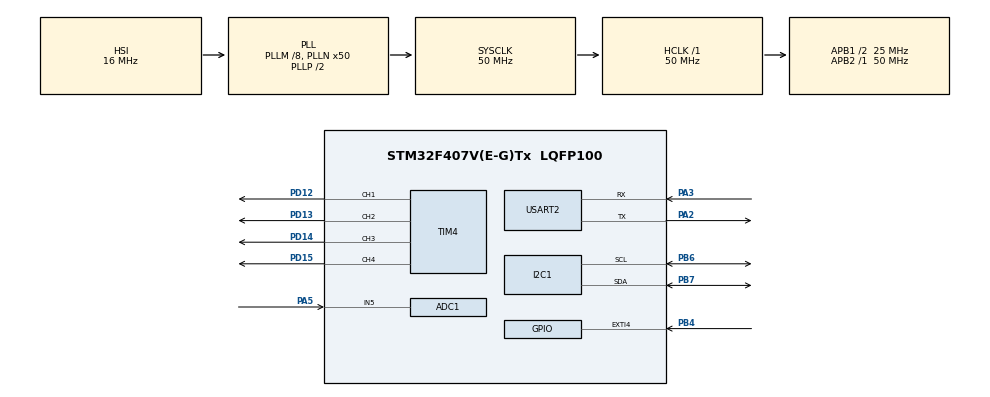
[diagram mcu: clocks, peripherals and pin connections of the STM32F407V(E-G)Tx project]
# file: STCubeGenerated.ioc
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ADC1.Channel-0\#ChannelRegularConversion=ADC_CHANNEL_5
ADC1.ClockPrescaler=ADC_CLOCK_SYNC_PCLK_DIV2
ADC1.ContinuousConvMode=DISABLE
ADC1.DMAContinuousRequests=DISABLE
ADC1.DataAlign=ADC_DATAALIGN_RIGHT
ADC1.DiscontinuousConvMode=DISABLE
ADC1.EOCSelection=ADC_EOC_SINGLE_CONV
ADC1.EnableAnalogWatchDog=false
ADC1.ExternalTrigConvEdge=ADC_EXTERNALTRIGCONVEDGE_NONE
ADC1.InjNumberOfConversion=0
ADC1.NbrOfConversion=1
ADC1.NbrOfConversionFlag=1
ADC1.Rank-0\#ChannelRegularConversion=1
ADC1.Resolution=ADC_RESOLUTION_12B
ADC1.SamplingTime-0\#ChannelRegularConversion=ADC_SAMPLETIME_3CYCLES
ADC1.ScanConvMode=DISABLE
ADC1.master=1
Dma.ADC1.2.Direction=DMA_PERIPH_TO_MEMORY
Dma.ADC1.2.FIFOMode=DMA_FIFOMODE_DISABLE
Dma.ADC1.2.Instance=DMA2_Stream0
Dma.ADC1.2.MemDataAlignment=DMA_MDATAALIGN_HALFWORD
Dma.ADC1.2.MemInc=DMA_MINC_ENABLE
Dma.ADC1.2.Mode=DMA_NORMAL
Dma.ADC1.2.PeriphDataAlignment=DMA_PDATAALIGN_HALFWORD
Dma.ADC1.2.PeriphInc=DMA_PINC_DISABLE
Dma.ADC1.2.Priority=DMA_PRIORITY_LOW
Dma.Request0=USART2_RX
Dma.Request1=USART2_TX
Dma.Request2=ADC1
Dma.USART2_RX.0.Direction=DMA_PERIPH_TO_MEMORY
Dma.USART2_RX.0.FIFOMode=DMA_FIFOMODE_DISABLE
Dma.USART2_RX.0.Instance=DMA1_Stream5
Dma.USART2_RX.0.MemDataAlignment=DMA_MDATAALIGN_BYTE
Dma.USART2_RX.0.MemInc=DMA_MINC_ENABLE
Dma.USART2_RX.0.Mode=DMA_NORMAL
Dma.USART2_RX.0.PeriphDataAlignment=DMA_PDATAALIGN_BYTE
Dma.USART2_RX.0.PeriphInc=DMA_PINC_DISABLE
Dma.USART2_RX.0.Priority=DMA_PRIORITY_LOW
Dma.USART2_TX.1.Direction=DMA_MEMORY_TO_PERIPH
Dma.USART2_TX.1.FIFOMode=DMA_FIFOMODE_DISABLE
Dma.USART2_TX.1.Instance=DMA1_Stream6
Dma.USART2_TX.1.MemDataAlignment=DMA_MDATAALIGN_BYTE
Dma.USART2_TX.1.MemInc=DMA_MINC_ENABLE
Dma.USART2_TX.1.Mode=DMA_NORMAL
Dma.USART2_TX.1.PeriphDataAlignment=DMA_PDATAALIGN_BYTE
Dma.USART2_TX.1.PeriphInc=DMA_PINC_DISABLE
Dma.USART2_TX.1.Priority=DMA_PRIORITY_LOW
I2C1.DutyCycle=I2C_DUTYCYCLE_16_9
I2C1.I2C_Mode=I2C_Fast
Mcu.Family=STM32F4
Mcu.Name=STM32F407V(E-G)Tx
Mcu.Package=LQFP100
NVIC.DMA1_Stream5_IRQn=true\:0\:0\:false\:false\:true
NVIC.DMA1_Stream6_IRQn=true\:0\:0\:false\:false\:true
NVIC.DMA2_Stream0_IRQn=true\:0\:0\:false\:false\:true
NVIC.EXTI4_IRQn=true\:0\:0\:false\:false\:true
NVIC.PriorityGroup=NVIC_PRIORITYGROUP_4
NVIC.USART2_IRQn=true\:0\:0\:false\:false\:true
PA2.GPIO_Speed=GPIO_SPEED_FREQ_HIGH
PA2.Mode=Asynchronous
PA2.Signal=USART2_TX
PA3.GPIO_Speed=GPIO_SPEED_FREQ_HIGH
PA3.Mode=Asynchronous
PA3.Signal=USART2_RX
PA5.Signal=ADCx_IN5
PB4.Signal=GPXTI4
PB6.Mode=I2C
PB6.Signal=I2C1_SCL
PB7.Mode=I2C
PB7.Signal=I2C1_SDA
PD12.Signal=S_TIM4_CH1
PD13.Signal=S_TIM4_CH2
PD14.Signal=S_TIM4_CH3
PD15.Signal=S_TIM4_CH4
ProjectManager.HeapSize=0x200
ProjectManager.StackSize=0x400
ProjectManager.TargetToolchain=MDK-ARM V5
RCC.48MHZClocksFreq_Value=25000000
RCC.AHBFreq_Value=50000000
RCC.APB1CLKDivider=RCC_HCLK_DIV2
RCC.APB1Freq_Value=25000000
RCC.APB1TimFreq_Value=50000000
RCC.APB2Freq_Value=50000000
RCC.APB2TimFreq_Value=50000000
RCC.CortexFreq_Value=50000000
RCC.HCLKFreq_Value=50000000
RCC.HSE_VALUE=8000000
RCC.HSI_VALUE=16000000
RCC.LSE_VALUE=32768
RCC.PLLM=8
RCC.PLLN=50
RCC.SYSCLKFreq_VALUE=50000000
RCC.SYSCLKSource=RCC_SYSCLKSOURCE_PLLCLK
RCC.VCOOutputFreq_Value=100000000
SH.ADCx_IN5.0=ADC1_IN5,IN5
SH.S_TIM4_CH1.0=TIM4_CH1,PWM Generation1 CH1
SH.S_TIM4_CH2.0=TIM4_CH2,PWM Generation2 CH2
SH.S_TIM4_CH3.0=TIM4_CH3,PWM Generation3 CH3
SH.S_TIM4_CH4.0=TIM4_CH4,PWM Generation4 CH4
TIM4.Channel-PWM\ Generation2\ CH2=TIM_CHANNEL_2
TIM4.Channel-PWM\ Generation3\ CH3=TIM_CHANNEL_3
TIM4.Channel-PWM\ Generation4\ CH4=TIM_CHANNEL_4
board=STCubeGenerated

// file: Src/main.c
/**
  ******************************************************************************
  * File Name          : main.c
  * Description        : Main program body
  ******************************************************************************
  *
  * COPYRIGHT(c) 2016 STMicroelectronics
  *
  * Redistribution and use in source and binary forms, with or without modification,
  * are permitted provided that the following conditions are met:
  *   1. Redistributions of source code must retain the above copyright notice,
  *      this list of conditions and the following disclaimer.
  *   2. Redistributions in binary form must reproduce the above copyright notice,
  *      this list of conditions and the following disclaimer in the documentation
  *      and/or other materials provided with the distribution.
  *   3. Neither the name of STMicroelectronics nor the names of its contributors
  *      may be used to endorse or promote products derived from this software
  *      without specific prior written permission.
  *
  * THIS SOFTWARE IS PROVIDED BY THE COPYRIGHT HOLDERS AND CONTRIBUTORS "AS IS"
  * AND ANY EXPRESS OR IMPLIED WARRANTIES, INCLUDING, BUT NOT LIMITED TO, THE
  * IMPLIED WARRANTIES OF MERCHANTABILITY AND FITNESS FOR A PARTICULAR PURPOSE ARE
  * DISCLAIMED. IN NO EVENT SHALL THE COPYRIGHT HOLDER OR CONTRIBUTORS BE LIABLE
  * FOR ANY DIRECT, INDIRECT, INCIDENTAL, SPECIAL, EXEMPLARY, OR CONSEQUENTIAL
  * DAMAGES (INCLUDING, BUT NOT LIMITED TO, PROCUREMENT OF SUBSTITUTE GOODS OR
  * SERVICES; LOSS OF USE, DATA, OR PROFITS; OR BUSINESS INTERRUPTION) HOWEVER
  * CAUSED AND ON ANY THEORY OF LIABILITY, WHETHER IN CONTRACT, STRICT LIABILITY,
  * OR TORT (INCLUDING NEGLIGENCE OR OTHERWISE) ARISING IN ANY WAY OUT OF THE USE
  * OF THIS SOFTWARE, EVEN IF ADVISED OF THE POSSIBILITY OF SUCH DAMAGE.
  *
  ******************************************************************************
  */
#include "stm32f4xx_hal.h"

/* USER CODE BEGIN Includes */
#include "main.h"
/* USER CODE END Includes */

ADC_HandleTypeDef hadc1;
DMA_HandleTypeDef hdma_adc1;

I2C_HandleTypeDef hi2c1;

TIM_HandleTypeDef htim4;

UART_HandleTypeDef huart2;
DMA_HandleTypeDef hdma_usart2_rx;
DMA_HandleTypeDef hdma_usart2_tx;

/* USER CODE BEGIN PV */
/* Private variables ---------------------------------------------------------*/
uint8_t TxBuffer[32];
uint8_t RxBuffer[32];
uint8_t Tx_Rx_Mode_Flag;

/* USER CODE END PV */

void SystemClock_Config(void);
void Error_Handler(void);
static void MX_GPIO_Init(void);
static void MX_DMA_Init(void);
static void MX_I2C1_Init(void);
static void MX_USART2_UART_Init(void);
static void MX_ADC1_Init(void);
static void MX_TIM4_Init(void);

void HAL_TIM_MspPostInit(TIM_HandleTypeDef *htim);

/* USER CODE BEGIN PFP */
/* Private function prototypes -----------------------------------------------*/

/* USER CODE END PFP */

int main(void)
{

  /* MCU Configuration----------------------------------------------------------*/

  /* Reset of all peripherals, Initializes the Flash interface and the Systick. */
  HAL_Init();

  /* Configure the system clock */
  SystemClock_Config();

  /* Initialize all configured peripherals */
  MX_GPIO_Init();
  MX_DMA_Init();
  MX_I2C1_Init();
  MX_USART2_UART_Init();
  MX_ADC1_Init();
  MX_TIM4_Init();

  /* USER CODE BEGIN 2 */

    mpu_init_all();

    dmp_set_fifo_rate(200);
    inv_set_quat_sample_rate(5000L);

    //dmp_set_fifo_rate(10);
    //inv_set_quat_sample_rate(100000L);
  /* USER CODE END 2 */

  /* Infinite loop */
  /* USER CODE BEGIN WHILE */
    while (1)
    {
        //HAL_UART_Receive_DMA(&huart2, RxBuffer, 2);
        Mpu_data_refresh();

        //时基?500ms的程?
        if ( (Timebase_500ms_even_flag & 0x01) == 0 )
        {

          Voltage();
          //Mpu_data_refresh();
          //LED_SetOut(LED_Count++);
          //inv_set_compass_bias_found(1);
          //inv_set_compass_state(1);
            Timebase_500ms_even_flag |= 0x01;
        }

        //时基?300ms的程?
        if ( (Timebase_300ms_even_flag & 0x01) == 0 )
        {
            Timebase_300ms_even_flag |= 0x01;
            //LED_SetOut(LED_Count++);
            //  Mpu_data_refresh();
            /*if(Tx_Rx_Mode_Flag == 0)
            {
             //串口数据
             //0?
             //1~16：log_stm32.c -> L119 -> quat
              HAL_UART_Transmit_DMA(&huart2, TxBuffer, 32);
              Tx_Rx_Mode_Flag = 1;
            }
            else
            {
              HAL_UART_Receive_DMA(&huart2, RxBuffer, 32);
              Tx_Rx_Mode_Flag = 0;
            }

            */
        }

        if ( (Timebase_50ms_even_flag & 0x01) == 0 )
        {
            Timebase_50ms_even_flag |= 0x01;

            //Mpu_data_refresh();
        }

        if ( (Timebase_2000ms_even_flag & 0x01) == 0 )
        {

            Timebase_2000ms_even_flag |= 0x01;
            //Mpu_data_refresh();
        }
  /* USER CODE END WHILE */

    }

}

/** System Clock Configuration
*/
void SystemClock_Config(void)
{

  RCC_OscInitTypeDef RCC_OscInitStruct;
  RCC_ClkInitTypeDef RCC_ClkInitStruct;

  __HAL_RCC_PWR_CLK_ENABLE();

  __HAL_PWR_VOLTAGESCALING_CONFIG(PWR_REGULATOR_VOLTAGE_SCALE1);

  RCC_OscInitStruct.OscillatorType = RCC_OSCILLATORTYPE_HSI;
  RCC_OscInitStruct.HSIState = RCC_HSI_ON;
  RCC_OscInitStruct.HSICalibrationValue = 16;
  RCC_OscInitStruct.PLL.PLLState = RCC_PLL_ON;
  RCC_OscInitStruct.PLL.PLLSource = RCC_PLLSOURCE_HSI;
  RCC_OscInitStruct.PLL.PLLM = 8;
  RCC_OscInitStruct.PLL.PLLN = 50;
  RCC_OscInitStruct.PLL.PLLP = RCC_PLLP_DIV2;
  RCC_OscInitStruct.PLL.PLLQ = 4;
  if (HAL_RCC_OscConfig(&RCC_OscInitStruct) != HAL_OK)
  {
    Error_Handler();
  }

  RCC_ClkInitStruct.ClockType = RCC_CLOCKTYPE_HCLK|RCC_CLOCKTYPE_SYSCLK
                              |RCC_CLOCKTYPE_PCLK1|RCC_CLOCKTYPE_PCLK2;
  RCC_ClkInitStruct.SYSCLKSource = RCC_SYSCLKSOURCE_PLLCLK;
  RCC_ClkInitStruct.AHBCLKDivider = RCC_SYSCLK_DIV1;
  RCC_ClkInitStruct.APB1CLKDivider = RCC_HCLK_DIV2;
  RCC_ClkInitStruct.APB2CLKDivider = RCC_HCLK_DIV1;
  if (HAL_RCC_ClockConfig(&RCC_ClkInitStruct, FLASH_LATENCY_1) != HAL_OK)
  {
    Error_Handler();
  }

  HAL_SYSTICK_Config(HAL_RCC_GetHCLKFreq()/1000);

  HAL_SYSTICK_CLKSourceConfig(SYSTICK_CLKSOURCE_HCLK);

  /* SysTick_IRQn interrupt configuration */
  HAL_NVIC_SetPriority(SysTick_IRQn, 0, 0);
}

/* ADC1 init function */
static void MX_ADC1_Init(void)
{

  ADC_ChannelConfTypeDef sConfig;

    /**Configure the global features of the ADC (Clock, Resolution, Data Alignment and number of conversion)
    */
  hadc1.Instance = ADC1;
  hadc1.Init.ClockPrescaler = ADC_CLOCK_SYNC_PCLK_DIV2;
  hadc1.Init.Resolution = ADC_RESOLUTION_12B;
  hadc1.Init.ScanConvMode = DISABLE;
  hadc1.Init.ContinuousConvMode = DISABLE;
  hadc1.Init.DiscontinuousConvMode = DISABLE;
  hadc1.Init.ExternalTrigConvEdge = ADC_EXTERNALTRIGCONVEDGE_NONE;
  hadc1.Init.DataAlign = ADC_DATAALIGN_RIGHT;
  hadc1.Init.NbrOfConversion = 1;
  hadc1.Init.DMAContinuousRequests = DISABLE;
  hadc1.Init.EOCSelection = ADC_EOC_SINGLE_CONV;
  if (HAL_ADC_Init(&hadc1) != HAL_OK)
  {
    Error_Handler();
  }

    /**Configure for the selected ADC regular channel its corresponding rank in the sequencer and its sample time.
    */
  sConfig.Channel = ADC_CHANNEL_5;
  sConfig.Rank = 1;
  sConfig.SamplingTime = ADC_SAMPLETIME_3CYCLES;
  if (HAL_ADC_ConfigChannel(&hadc1, &sConfig) != HAL_OK)
  {
    Error_Handler();
  }

}

/* I2C1 init function */
static void MX_I2C1_Init(void)
{

  hi2c1.Instance = I2C1;
  hi2c1.Init.ClockSpeed = 400000;
  hi2c1.Init.DutyCycle = I2C_DUTYCYCLE_16_9;
  hi2c1.Init.OwnAddress1 = 0;
  hi2c1.Init.AddressingMode = I2C_ADDRESSINGMODE_7BIT;
  hi2c1.Init.DualAddressMode = I2C_DUALADDRESS_DISABLE;
  hi2c1.Init.OwnAddress2 = 0;
  hi2c1.Init.GeneralCallMode = I2C_GENERALCALL_DISABLE;
  hi2c1.Init.NoStretchMode = I2C_NOSTRETCH_DISABLE;
  if (HAL_I2C_Init(&hi2c1) != HAL_OK)
  {
    Error_Handler();
  }

}

/* TIM4 init function */
static void MX_TIM4_Init(void)
{

  TIM_MasterConfigTypeDef sMasterConfig;
  TIM_OC_InitTypeDef sConfigOC;

  htim4.Instance = TIM4;
  htim4.Init.Prescaler = 0;
  htim4.Init.CounterMode = TIM_COUNTERMODE_UP;
  htim4.Init.Period = 0;
  htim4.Init.ClockDivision = TIM_CLOCKDIVISION_DIV1;
  if (HAL_TIM_PWM_Init(&htim4) != HAL_OK)
  {
    Error_Handler();
  }

  sMasterConfig.MasterOutputTrigger = TIM_TRGO_RESET;
  sMasterConfig.MasterSlaveMode = TIM_MASTERSLAVEMODE_DISABLE;
  if (HAL_TIMEx_MasterConfigSynchronization(&htim4, &sMasterConfig) != HAL_OK)
  {
    Error_Handler();
  }

  sConfigOC.OCMode = TIM_OCMODE_PWM1;
  sConfigOC.Pulse = 0;
  sConfigOC.OCPolarity = TIM_OCPOLARITY_HIGH;
  sConfigOC.OCFastMode = TIM_OCFAST_DISABLE;
  if (HAL_TIM_PWM_ConfigChannel(&htim4, &sConfigOC, TIM_CHANNEL_1) != HAL_OK)
  {
    Error_Handler();
  }

  if (HAL_TIM_PWM_ConfigChannel(&htim4, &sConfigOC, TIM_CHANNEL_2) != HAL_OK)
  {
    Error_Handler();
  }

  if (HAL_TIM_PWM_ConfigChannel(&htim4, &sConfigOC, TIM_CHANNEL_3) != HAL_OK)
  {
    Error_Handler();
  }

  if (HAL_TIM_PWM_ConfigChannel(&htim4, &sConfigOC, TIM_CHANNEL_4) != HAL_OK)
  {
    Error_Handler();
  }

  HAL_TIM_MspPostInit(&htim4);

}

/* USART2 init function */
static void MX_USART2_UART_Init(void)
{

  huart2.Instance = USART2;
  huart2.Init.BaudRate = 115200;
  huart2.Init.WordLength = UART_WORDLENGTH_8B;
  huart2.Init.StopBits = UART_STOPBITS_1;
  huart2.Init.Parity = UART_PARITY_NONE;
  huart2.Init.Mode = UART_MODE_TX_RX;
  huart2.Init.HwFlowCtl = UART_HWCONTROL_NONE;
  huart2.Init.OverSampling = UART_OVERSAMPLING_16;
  if (HAL_UART_Init(&huart2) != HAL_OK)
  {
    Error_Handler();
  }

}

static void MX_DMA_Init(void)
{
  /* DMA controller clock enable */
  __HAL_RCC_DMA1_CLK_ENABLE();
  __HAL_RCC_DMA2_CLK_ENABLE();

  /* DMA interrupt init */
  /* DMA1_Stream5_IRQn interrupt configuration */
  HAL_NVIC_SetPriority(DMA1_Stream5_IRQn, 0, 0);
  HAL_NVIC_EnableIRQ(DMA1_Stream5_IRQn);
  /* DMA1_Stream6_IRQn interrupt configuration */
  HAL_NVIC_SetPriority(DMA1_Stream6_IRQn, 0, 0);
  HAL_NVIC_EnableIRQ(DMA1_Stream6_IRQn);
  /* DMA2_Stream0_IRQn interrupt configuration */
  HAL_NVIC_SetPriority(DMA2_Stream0_IRQn, 0, 0);
  HAL_NVIC_EnableIRQ(DMA2_Stream0_IRQn);

}

/** Configure pins as
        * Analog
        * Input
        * Output
        * EVENT_OUT
        * EXTI
*/
static void MX_GPIO_Init(void)
{

  GPIO_InitTypeDef GPIO_InitStruct;

  /* GPIO Ports Clock Enable */
  __HAL_RCC_GPIOA_CLK_ENABLE();
  __HAL_RCC_GPIOD_CLK_ENABLE();
  __HAL_RCC_GPIOB_CLK_ENABLE();

  /*Configure GPIO pin : PB4 */
  GPIO_InitStruct.Pin = GPIO_PIN_4;
  GPIO_InitStruct.Mode = GPIO_MODE_IT_RISING;
  GPIO_InitStruct.Pull = GPIO_NOPULL;
  HAL_GPIO_Init(GPIOB, &GPIO_InitStruct);

  /* EXTI interrupt init*/
  HAL_NVIC_SetPriority(EXTI4_IRQn, 0, 0);
  HAL_NVIC_EnableIRQ(EXTI4_IRQn);

}

void Error_Handler(void)
{
    while (1)
    {
    }
}

/************************ (C) COPYRIGHT STMicroelectronics *****END OF FILE****/
